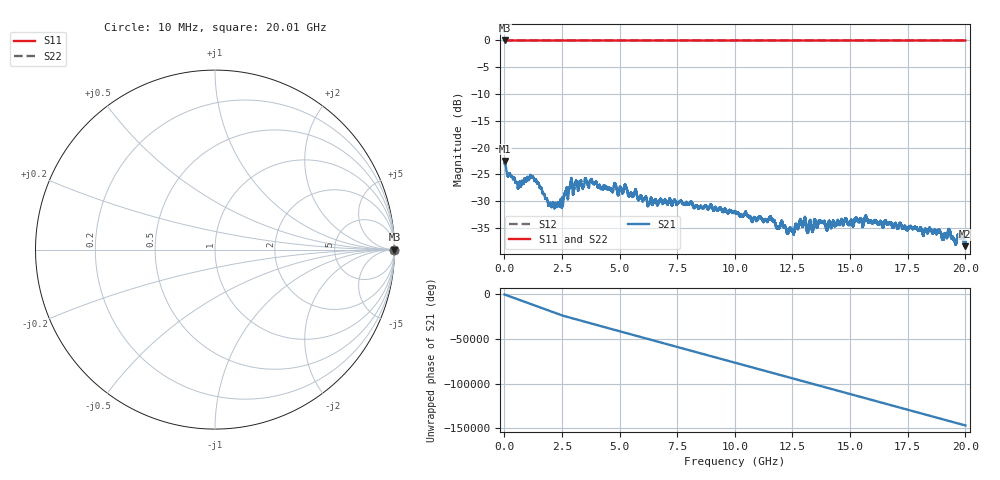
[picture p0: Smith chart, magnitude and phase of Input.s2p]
! 8/15/2025 12:02:47 PM
! C:\ANRITSUVNA\INPUT.S2P
! CHANNEL.1
! TR.MEASUREMENT
! RAW.DATA
! RF.CORRECTION.OFF
! AVERAGING.OFF
! IF.BANDWIDTH: 5KHZ
! SWEEPTYPE:  FREQ.SWEEP(Linear)
! Reference Plane Port Info
! PORT:  PORT1  PORT2
! DISTANCE:  0  m  0  m
! TIME:  0  s  0  s
! PHASE.OFFSET:  0  deg.  0  deg.
! LOSS:  0  dB  0  dB
! REF.LOSS:  0  dB  0  dB
! REF.FREQ:  0  Hz  0  Hz
! Power Info
! POWER:  -20  dBm  -20  dBm
! EFF.POWER:  -20  dBm  -20  dBm
! SOURCE.ATTEN:  0  dB  0  dB
! TEST.ATTEN:  0  dB  0  dB
# GHZ S RI R 50.0
! FREQ.GHZ  S11RE  S11IM  S21RE  S21IM  S12RE  S12IM  S22RE  S22IM
!; PortSelection: Port_12
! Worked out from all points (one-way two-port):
!   20001 points, 10 MHz to 20.01 GHz, reference 50 ohm
!   highest |S21| = -22.51 dB at 10 MHz (marker M1); lowest = -38.4 dB at 19.98 GHz (marker M2)
!   lowest |S11| = 0.0 dB at 10 MHz (marker M3)
!   |S11| at or under -10 dB: nowhere
!   |S22| runs from 0.0 to 0.0 dB; largest |S21 - S12| = 1.1
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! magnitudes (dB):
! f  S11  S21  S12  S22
! 10 MHz  0.0  -22.5  0.0  0.0
! 180 MHz  0.0  -25.2  0.0  0.0
! 637 MHz  0.0  -27.1  0.0  0.0
! 1.298 GHz  0.0  -26.0  0.0  0.0
! 1.987 GHz  0.0  -30.3  0.0  0.0
! 2.456 GHz  0.0  -30.0  0.0  0.0
! 2.87 GHz  0.0  -26.6  0.0  0.0
! 3.344 GHz  0.0  -26.7  0.0  0.0
! 5.255 GHz  0.0  -27.0  0.0  0.0
! 6.677 GHz  0.0  -30.4  0.0  0.0
! 10.01 GHz  0.0  -31.8  0.0  0.0
! 11.57 GHz  0.0  -33.3  0.0  0.0
! 12.3 GHz  0.0  -36.0  0.0  0.0
! 12.97 GHz  0.0  -34.5  0.0  0.0
! 13.34 GHz  0.0  -35.3  0.0  0.0
! 15.7 GHz  0.0  -32.9  0.0  0.0
! 16.68 GHz  0.0  -34.2  0.0  0.0
! 19.32 GHz  0.0  -35.4  0.0  0.0
! 19.54 GHz  0.0  -37.3  0.0  0.0
! 19.77 GHz  0.0  -36.4  0.0  0.0
! 19.98 GHz  0.0  -38.4  0.0  0.0
! 20.01 GHz  0.0  -37.7  0.0  0.0
